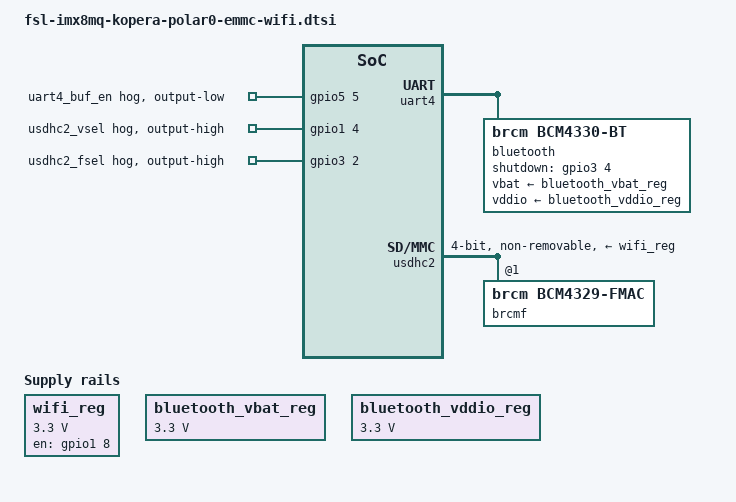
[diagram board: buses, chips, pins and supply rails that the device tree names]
/*
 * Copyright 2017 NXP
 * Copyright 2018-2019 Variscite Ltd.
 * Copyright 2019 KOPERA
 *
 * This program is free software; you can redistribute it and/or
 * modify it under the terms of the GNU General Public License
 * as published by the Free Software Foundation; either version 2
 * of the License, or (at your option) any later version.
 *
 * This program is distributed in the hope that it will be useful,
 * but WITHOUT ANY WARRANTY; without even the implied warranty of
 * MERCHANTABILITY or FITNESS FOR A PARTICULAR PURPOSE.  See the
 * GNU General Public License for more details.
 */

/ {
	regulators {
		wifi_reg: wifi_reg {
			compatible = "regulator-fixed";
			regulator-name = "WIFI_REG";
			regulator-min-microvolt = <3300000>;
			regulator-max-microvolt = <3300000>;
			gpio = <&gpio1 8 GPIO_ACTIVE_HIGH>;
			enable-active-high;
			startup-delay-us = <20000>;
		};

		bluetooth_vbat_reg: bluetooth_vbat_reg {
			compatible = "regulator-fixed";
			regulator-name = "BLUETOOTH_VBAT_REG";
			regulator-min-microvolt = <3300000>;
			regulator-max-microvolt = <3300000>;
		};

		bluetooth_vddio_reg: bluetooth_vddio_reg {
			compatible = "regulator-fixed";
			regulator-name = "BLUETOOTH_VDDIO_REG";
			regulator-min-microvolt = <3300000>;
			regulator-max-microvolt = <3300000>;
		};
	};
};


/* Disable UART4 buffer */
&gpio5 {
	uart4_buf_en_hog {
		gpio-hog;
		gpios = <5 0>;
		output-low;
		pinctrl-names = "default";
		pinctrl-0 = <&pinctrl_uart4_buf_en>;
		line-name = "uart4_buf_en";
	};
};


/* Bluetooth */
&uart4 {
	pinctrl-names = "default";
	pinctrl-0 = <&pinctrl_uart4>, <&pinctrl_bluetooth>;
	status = "okay";

	bluetooth {
		compatible = "brcm,bcm4330-bt";
		max-speed = <3000000>;
		shutdown-gpios = <&gpio3 4 GPIO_ACTIVE_HIGH>;
		vbat-supply = <&bluetooth_vbat_reg>;
		vddio-supply = <&bluetooth_vddio_reg>;
	};
};

/* Set WIFI SDIO voltage at 1.8V */
&gpio1 {
	usdhc2_vsel_hog {
		gpio-hog;
		gpios = <4 0>;
		output-high;
		pinctrl-names = "default";
		pinctrl-0 = <&pinctrl_usdhc2_vsel>;
		line-name = "usdhc2_vsel";
	};
};

/* Set SDIO function to WIFI */
&gpio3 {
	usdhc2_fsel_hog {
		gpio-hog;
		gpios = <2 0>;
		output-high;
		pinctrl-names = "default";
		pinctrl-0 = <&pinctrl_usdhc2_fsel>;
		line-name = "usdhc2_fsel";
	};
};

/* WIFI */
&usdhc2 {
	#address-cells = <1>;
	#size-cells = <0>;

	pinctrl-names = "default", "state_100mhz", "state_200mhz";
	pinctrl-0 = <&pinctrl_usdhc2>, <&pinctrl_wifi>;
	pinctrl-1 = <&pinctrl_usdhc2_100mhz>, <&pinctrl_wifi>;
	pinctrl-2 = <&pinctrl_usdhc2_200mhz>, <&pinctrl_wifi>;
	bus-width = <4>;
	vmmc-supply = <&wifi_reg>;
	non-removable;
	status = "okay";

	brcmf: wifi@1 {
		reg = <1>;
		compatible = "brcm,bcm4329-fmac";
	};
};

// &fec1 {
// 	pinctrl-names = "default";
// 	pinctrl-0 = <&pinctrl_fec1>;
// };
